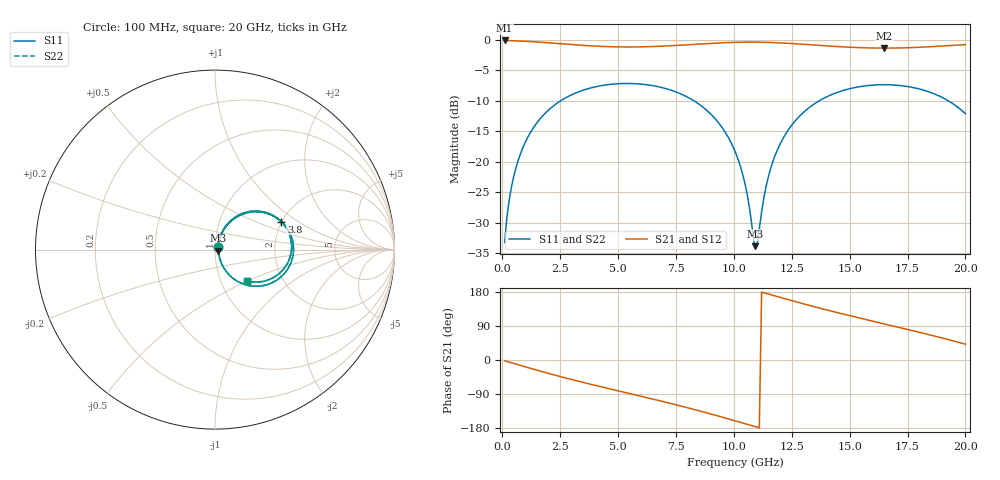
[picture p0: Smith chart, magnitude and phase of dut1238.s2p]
! Touchstone file exported from HFSS 2026.1.0
!  File:  C:/ffzhzh/LocalFiles/Ansys_Project_Files/temp_train_TSV_RDL_1238_1783323842_30076.aedt
!  Generated:  03:59:53 PM Jul  6, 2026
!  Design:  TSV_RDL
!  Project:  temp_train_TSV_RDL_1238_1783323842_30076
! Variables:
!  h_bsmrdl = 5.47um
!  h_ox = 20um
!  h_rdl = 5um
!  h_sub = 60.59um
!  h_tmrdl = 5.28um
!  h_tsv = 60.59um
!  h_via = 3um
!  l_bsmrdl = 983.49um
!  l_sub = 5736.68um
!  l_tmrdl = 557.05um
!  m_sub = 200um
!  pitch = 49.64um
!  r_tsv = 11.76um
!  s_tmrdl = 10um
!  w_bsmrdl = 27.53um
!  w_sub = 500um
!  w_tmrdl = 25.14um
!  x_tsv_center1 = 569.62um
!  x_tsv_center2 = 1580.64um
!  x_tsv_center3 = 2162.83um
!  x_tsv_center4 = 3173.85um
!  x_tsv_center5 = 3756.04um
!  x_tsv_center6 = 4767.06um
# GHz S MA R 50.000000
! Terminal data exported
! Port[1] = TM_RDL1_1_T1
! Port[2] = TM_RDL5_1_T1
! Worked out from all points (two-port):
!   200 points, 100 MHz to 20 GHz, reference 50 ohm
!   highest |S21| = -0.13 dB at 100 MHz (marker M1); lowest = -1.4 dB at 16.5 GHz (marker M2)
!   |S21| within 3 dB of the highest: start of sweep to end of sweep
!   lowest |S11| = -33.9 dB at 10.9 GHz (marker M3), VSWR 1.04, Z = 52 - j0.615 ohm
!   |S11| at or under -10 dB: start of sweep to 2.53 GHz; 8.267 GHz to 13.7 GHz (5.43 GHz wide, 49.4 % of centre); 19.25 GHz to end of sweep
!   |S22| runs from -33.7 to -7.2 dB; largest |S21 - S12| = 1.7e-14
!   S11 on the Smith chart (normalised r, x): 100 MHz: 1.03, +0.03; 3.8 GHz: 1.99, +0.74; 20 GHz: 1.32, -0.49
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0.1  0.02176 46.9  0.9855 -1.9  0.9855 -1.9  0.02176 46.9
! Gamma 0 0 0 0
! Port Impedance 50 0 50 0
0.3  0.04879 64.8  0.9827 -5.6  0.9827 -5.6  0.04879 64.8
0.5  0.07651 67.7  0.98 -9.2  0.98 -9.2  0.07651 67.7
1.1  0.1583 63.1  0.9684 -20.0  0.9684 -20.0  0.1583 63.1
2.1  0.2756 48.3  0.939 -37.1  0.939 -37.1  0.2756 48.3
3.5  0.3858 27.3  0.8969 -59.3  0.8969 -59.3  0.3858 27.3
3.8  0.4012 22.9  0.8899 -63.8  0.8899 -63.8  0.4012 22.9
6.8  0.4089 -19.0  0.883 -107.5  0.883 -107.5  0.4088 -18.9
8.8  0.2665 -48.0  0.9279 -139.0  0.9279 -139.0  0.2665 -47.9
10.1  0.1152 -64.3  0.9516 -161.3  0.9516 -161.3  0.1152 -64.0
10.5  0.06365 -63.2  0.9544 -168.3  0.9544 -168.3  0.06372 -62.7
10.9  0.02028 -17.0  0.9546 -175.4  0.9546 -175.4  0.02072 -16.3
11  0.0203 20.3  0.9542 -177.2  0.9542 -177.2  0.02081 20.1
11.4  0.06353 66.3  0.951 175.7  0.951 175.7  0.06377 65.9
11.8  0.1145 67.4  0.9452 168.7  0.9452 168.7  0.1147 67.1
12.5  0.199 59.8  0.9303 156.6  0.9303 156.6  0.1992 59.6
13.4  0.2909 47.1  0.906 141.8  0.906 141.8  0.291 47.0
14.9  0.392 25.7  0.869 118.6  0.869 118.6  0.3921 25.7
16.5  0.4275 3.8  0.8531 95.3  0.8531 95.3  0.4276 3.8
16.7  0.4269 1.1  0.8533 92.4  0.8533 92.4  0.4269 1.1
18.5  0.3691 -23.7  0.8758 65.7  0.8758 65.7  0.3692 -23.6
20  0.2475 -44.6  0.9106 41.8  0.9106 41.8  0.2476 -44.5
